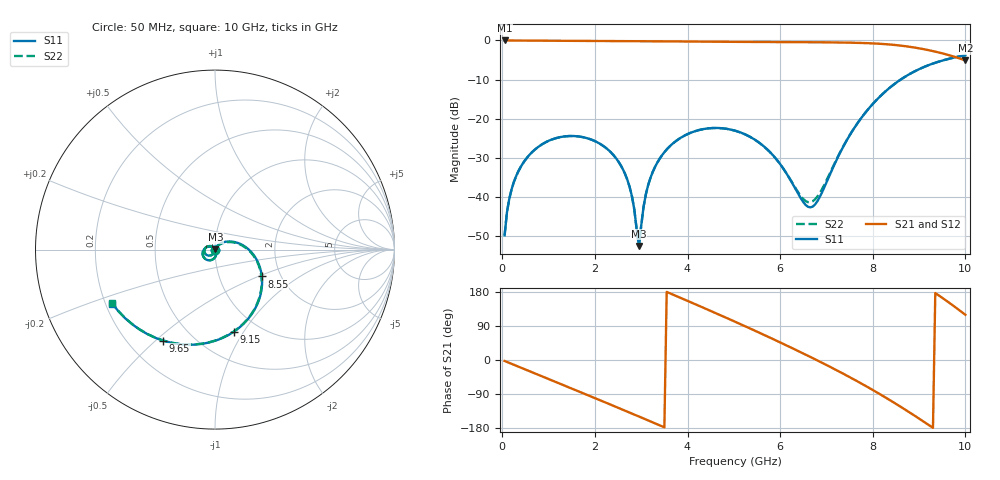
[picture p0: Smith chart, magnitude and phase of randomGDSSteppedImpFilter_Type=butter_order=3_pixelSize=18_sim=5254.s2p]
! freq	dB(S11)	phase(S11)	dB(S12)	phase(S12)
!  dB(S21)	phase(S21)	dB(S22)	phase(S22)
!S-par simulation data
#  GHz  S  DB  R 50
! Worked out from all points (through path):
!   200 points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, 50 MHz to 10 GHz, reference 50 ohm
!   highest |S21| = 0.00 dB at 50 MHz (marker M1); lowest = -5.1 dB at 10 GHz (marker M2)
!   group delay of S21, straight-line fit = 161 ps
!   lowest |S11| = -52.6 dB at 2.95 GHz (marker M3), VSWR 1.00, Z = 50.2 + j0.106 ohm
!   |S11| at or under -10 dB: start of sweep to 8.604 GHz
!   |S22| runs from -52.6 to -3.8 dB; largest |S21 - S12| = 0
!   S11 on the Smith chart (normalised r, x): 50 MHz: 1.00, -0.01; 8.55 GHz: 1.60, -0.53; 9.15 GHz: 0.77, -0.91; 9.65 GHz: 0.34, -0.53; 10 GHz: 0.23, -0.24
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0.05  -49.84 -86.2  -0.00 -2.6  -0.00 -2.6  -49.84 -86.2
0.2  -38.12 -98.7  -0.02 -10.1  -0.02 -10.1  -38.12 -98.7
0.55  -29.77 -118.1  -0.04 -27.7  -0.04 -27.7  -29.77 -118.1
1.2  -24.87 -151.7  -0.08 -60.3  -0.08 -60.3  -24.87 -151.7
1.75  -24.77 -179.9  -0.11 -87.9  -0.11 -87.9  -24.77 -179.9
2.6  -32.87 133.3  -0.16 -131.1  -0.16 -131.1  -32.88 133.2
2.8  -39.90 115.9  -0.17 -141.4  -0.17 -141.4  -39.91 115.9
2.95  -52.57 26.5  -0.18 -149.1  -0.18 -149.1  -52.64 26.2
3.1  -39.38 -54.9  -0.19 -156.9  -0.19 -156.9  -39.38 -55.2
3.4  -30.23 -78.2  -0.22 -172.5  -0.22 -172.5  -30.23 -78.5
4.15  -23.26 -119.7  -0.30 148.1  -0.30 148.1  -23.27 -120.1
5.05  -23.17 -168.0  -0.36 99.7  -0.36 99.7  -23.18 -169.0
5.8  -28.81 150.1  -0.39 57.9  -0.39 57.9  -28.82 146.8
6.5  -41.37 99.8  -0.44 17.2  -0.44 17.2  -40.60 81.7
6.7  -42.53 80.9  -0.45 5.2  -0.45 5.2  -41.17 60.5
7.15  -32.31 59.9  -0.50 -22.6  -0.50 -22.6  -32.07 51.7
7.65  -21.53 32.5  -0.61 -55.1  -0.61 -55.1  -21.50 29.8
8.35  -12.26 -15.0  -1.02 -104.4  -1.02 -104.4  -12.26 -15.9
8.55  -10.44 -29.8  -1.25 -119.5  -1.25 -119.5  -10.44 -30.6
9.15  -6.58 -77.0  -2.35 -166.7  -2.35 -166.7  -6.58 -77.5
9.65  -4.68 -119.6  -3.78 151.1  -3.78 151.1  -4.68 -120.0
10  -3.79 -152.2  -5.12 119.3  -5.12 119.3  -3.79 -152.6
